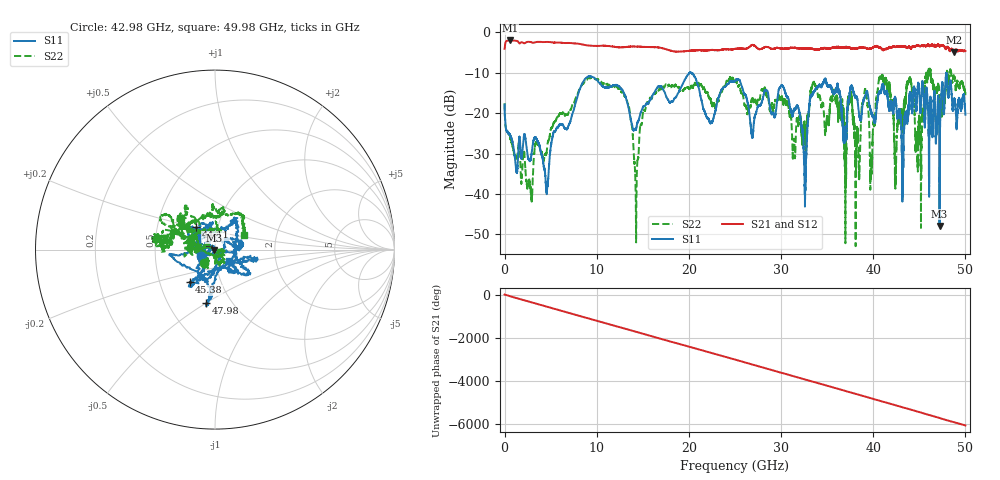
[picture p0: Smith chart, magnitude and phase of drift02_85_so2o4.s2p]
!Created with skrf (http://scikit-rf.org).
# Hz S RI R 50.0
!freq ReS11 ImS11 ReS21 ImS21 ReS12 ImS12 ReS22 ImS22
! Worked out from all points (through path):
!   10001 points, 300 kHz to 50 GHz, reference 50 ohm
!   highest |S21| = -1.99 dB at 580.3 MHz (marker M1); lowest = -4.8 dB at 48.77 GHz (marker M2)
!   group delay of S21, straight-line fit = 337 ps
!   lowest |S11| = -47.9 dB at 47.2 GHz (marker M3), VSWR 1.01, Z = 49.7 - j0.278 ohm
!   |S11| at or under -10 dB: start of sweep to 20.06 GHz; 20.24 GHz to 47.91 GHz (27.67 GHz wide, 81.2 % of centre); 47.92 GHz to end of sweep (the widest 3 of 7)
!   |S22| runs from -52.9 to -8.9 dB; largest |S21 - S12| = 0.034
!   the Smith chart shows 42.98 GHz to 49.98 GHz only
!   S11 on the Smith chart (normalised r, x): 42.98 GHz: 0.85, -0.06; 44.11 GHz: 0.79, +0.20; 45.38 GHz: 0.71, -0.27; 47.98 GHz: 0.76, -0.50; 49.98 GHz: 1.15, -0.15
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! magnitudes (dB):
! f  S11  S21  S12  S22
! 300 kHz  -17.9  -4.1  -4.0  -17.6
! 580.3 MHz  -25.3  -2.0  -2.0  -26.0
! 4.565 GHz  -39.7  -2.4  -2.4  -29.5
! 8.335 GHz  -13.0  -2.9  -2.9  -13.2
! 13 GHz  -15.3  -3.6  -3.6  -15.7
! 14.28 GHz  -23.8  -3.5  -3.5  -51.6
! 16.67 GHz  -13.3  -3.7  -3.7  -14.5
! 25 GHz  -12.1  -4.1  -4.1  -12.1
! 26.86 GHz  -25.8  -3.1  -3.1  -16.5
! 30.19 GHz  -13.3  -4.1  -4.1  -16.8
! 32.58 GHz  -39.0  -3.9  -4.0  -25.3
! 33.34 GHz  -15.7  -4.0  -4.0  -13.7
! 38.29 GHz  -16.8  -3.9  -3.8  -23.9
! 41.67 GHz  -18.4  -3.8  -3.9  -12.4
! 42.98 GHz  -21.3  -3.4  -3.4  -20.1
! 44.11 GHz  -15.8  -3.9  -3.8  -12.7
! 45.38 GHz  -12.8  -3.3  -3.3  -18.8
! 47.2 GHz  -47.9  -3.5  -3.4  -16.5
! 47.98 GHz  -10.4  -3.7  -3.7  -9.8
! 48.77 GHz  -16.6  -4.8  -4.8  -10.7
! 49.98 GHz  -20.0  -4.6  -4.6  -14.8
! 50 GHz  -20.4  -4.6  -4.5  -15.5
